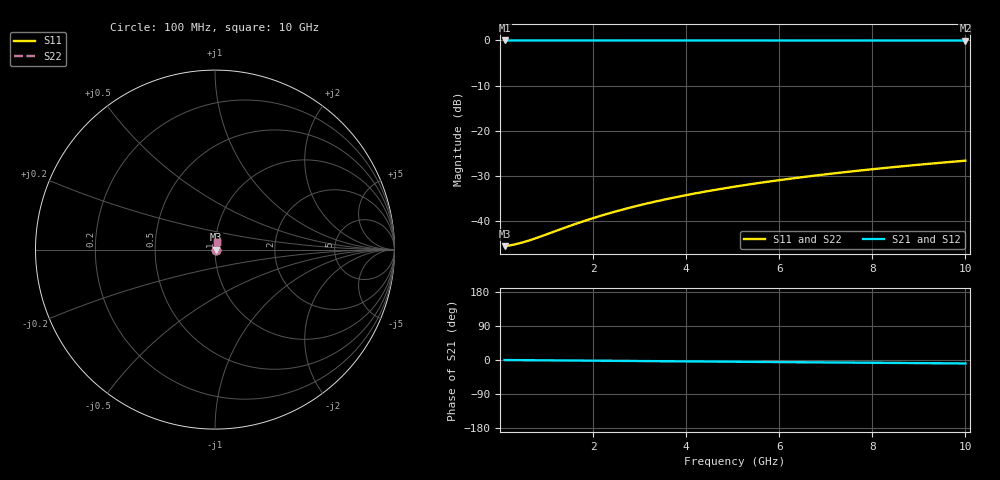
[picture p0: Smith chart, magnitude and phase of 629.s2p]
# Hz S RI R 50.00
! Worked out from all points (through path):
!   100 points, 100 MHz to 10 GHz, reference 50 ohm
!   highest |S21| = -0.05 dB at 100 MHz (marker M1); lowest = -0.1 dB at 10 GHz (marker M2)
!   group delay of S21, straight-line fit = 2.52 ps
!   lowest |S11| = -45.5 dB at 100 MHz (marker M3), VSWR 1.01, Z = 50.5 + j0.0464 ohm
!   |S11| at or under -10 dB: start of sweep to end of sweep
!   |S22| runs from -45.5 to -26.6 dB; largest |S21 - S12| = 0
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1e8  0.00531 0.000459  0.9947 -0.00158  0.9947 -0.00158  0.00531 0.000459
2e8  0.00535 0.000917  0.9946 -0.00315  0.9946 -0.00315  0.00535 0.000917
3e8  0.00538 0.00138  0.9946 -0.00473  0.9946 -0.00473  0.00538 0.00138
4e8  0.0054 0.00183  0.9946 -0.00631  0.9946 -0.00631  0.0054 0.00183
6e8  0.00545 0.00275  0.9945 -0.00946  0.9945 -0.00946  0.00545 0.00275
8e8  0.00549 0.00367  0.9945 -0.0126  0.9945 -0.0126  0.00549 0.00367
1.4e9  0.00565 0.00641  0.9942 -0.0221  0.9942 -0.0221  0.00565 0.00641
1.8e9  0.00577 0.00824  0.994 -0.0284  0.994 -0.0284  0.00577 0.00824
2.2e9  0.00592 0.0101  0.9938 -0.0347  0.9938 -0.0347  0.00592 0.0101
2.6e9  0.00608 0.0119  0.9935 -0.041  0.9935 -0.041  0.00608 0.0119
3e9  0.00626 0.0137  0.9931 -0.0473  0.9931 -0.0473  0.00626 0.0137
3.4e9  0.00647 0.0155  0.9928 -0.0536  0.9928 -0.0536  0.00647 0.0155
3.8e9  0.0067 0.0174  0.9924 -0.0599  0.9924 -0.0599  0.0067 0.0174
4.2e9  0.00695 0.0192  0.9919 -0.0661  0.9919 -0.0661  0.00695 0.0192
4.6e9  0.00722 0.021  0.9914 -0.0724  0.9914 -0.0724  0.00722 0.021
5.1e9  0.0076 0.0232  0.9907 -0.0803  0.9907 -0.0803  0.0076 0.0232
5.9e9  0.00827 0.0268  0.9895 -0.0928  0.9895 -0.0928  0.00827 0.0268
6.7e9  0.00903 0.0304  0.9881 -0.1053  0.9881 -0.1053  0.00903 0.0304
7.5e9  0.00988 0.034  0.9865 -0.1178  0.9865 -0.1178  0.00988 0.034
8.4e9  0.0109 0.038  0.9845 -0.1319  0.9845 -0.1319  0.0109 0.038
9.2e9  0.012 0.0415  0.9826 -0.1443  0.9826 -0.1443  0.012 0.0415
1e10  0.0131 0.0449  0.9805 -0.1567  0.9805 -0.1567  0.0131 0.0449
